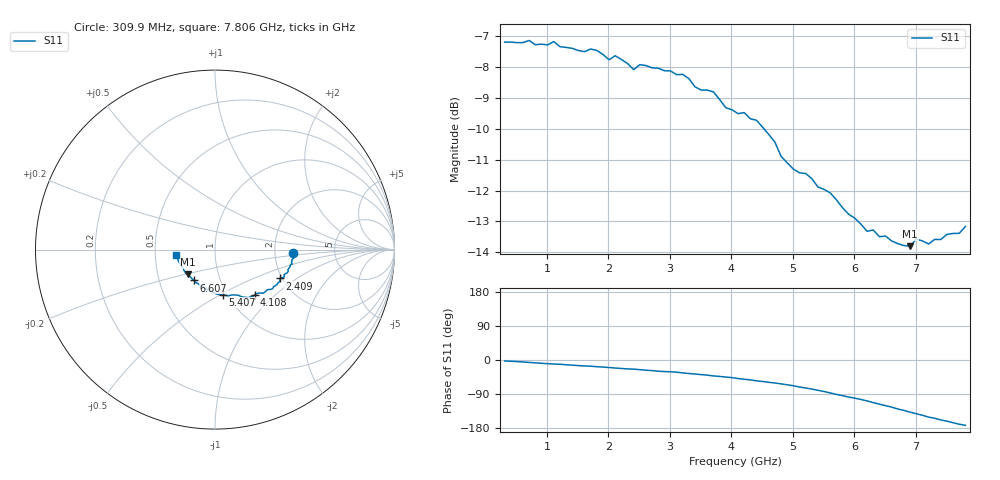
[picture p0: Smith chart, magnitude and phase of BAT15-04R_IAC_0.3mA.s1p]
! Infineon Technologies  Discrete & RF Semiconductors
! BAT15-04R
! IAC = 0.3 mA
! One-Port S-Parameters
# Hz  S  MA  R  50
!f  S11
!Hz  Mag  Ang
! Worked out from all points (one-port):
!   76 points, 309.9 MHz to 7.806 GHz, reference 50 ohm
!   lowest |S11| = -13.8 dB at 6.907 GHz (marker M1), VSWR 1.51, Z = 35.7 - j10.2 ohm
!   |S11| at or under -10 dB: 4.529 GHz to end of sweep
!   S11 on the Smith chart (normalised r, x): 309.9 MHz: 2.54, -0.12; 2.409 GHz: 1.94, -0.74; 4.108 GHz: 1.32, -0.75; 5.407 GHz: 0.96, -0.51; 6.607 GHz: 0.75, -0.27; 7.806 GHz: 0.64, -0.04
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3.0985e8  0.4368 -2.5
1.10945e9  0.4376 -10.7
1.30935e9  0.4282 -12.6
1.70915e9  0.4256 -16.4
2.009e9  0.409 -19.9
2.10895e9  0.4151 -21.2
2.2089e9  0.4095 -22.3
2.4088e9  0.3942 -24.1
2.50875e9  0.4015 -25.5
3.2084e9  0.3873 -34.1
3.4083e9  0.3696 -37.0
3.70815e9  0.3627 -42.0
3.90805e9  0.342 -45.0
4.10795e9  0.3345 -48.9
4.4078e9  0.3264 -55.1
5.0075e9  0.2721 -68.0
5.2074e9  0.2677 -73.9
5.4073e9  0.2545 -80.0
5.6072e9  0.249 -86.9
6.007e9  0.2266 -100.7
6.2069e9  0.2158 -108.0
6.30685e9  0.2168 -112.4
6.6067e9  0.2081 -124.4
6.90655e9  0.2041 -137.7
7.0065e9  0.2096 -141.7
7.2064e9  0.2059 -150.6
7.70615e9  0.2142 -169.5
7.8061e9  0.2198 -172.3
